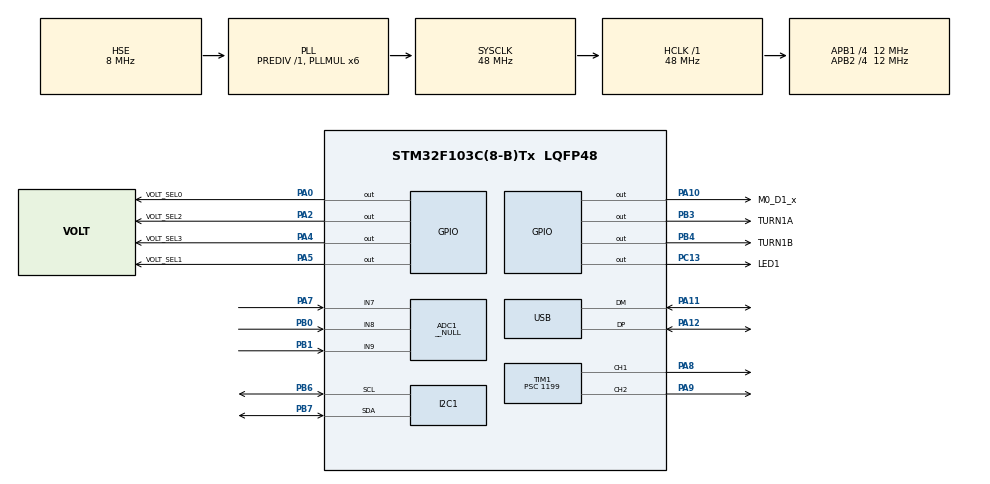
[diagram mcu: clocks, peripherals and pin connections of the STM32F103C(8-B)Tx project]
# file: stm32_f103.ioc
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ADC1.Channel-12\#ChannelRegularConversion=ADC_CHANNEL_7
ADC1.Channel-14\#ChannelRegularConversion=ADC_CHANNEL_8
ADC1.Channel-15\#ChannelRegularConversion=ADC_CHANNEL_9
ADC1.ContinuousConvMode=DISABLE
ADC1.DiscontinuousConvMode=DISABLE
ADC1.EnableInjectedConversion=DISABLE
ADC1.EnableRegularConversion=ENABLE
ADC1.ExternalTrigConv=ADC_EXTERNALTRIGCONV_T3_TRGO
ADC1.ExternalTrigInjecConv=ADC_INJECTED_SOFTWARE_START
ADC1.InjNumberOfConversion=2
ADC1.Mode=__NULL
ADC1.NbrOfConversion=3
ADC1.NbrOfConversionFlag=1
ADC1.Rank-12\#ChannelRegularConversion=1
ADC1.Rank-14\#ChannelRegularConversion=2
ADC1.Rank-15\#ChannelRegularConversion=3
ADC1.SamplingTime-12\#ChannelRegularConversion=ADC_SAMPLETIME_55CYCLES_5
ADC1.SamplingTime-14\#ChannelRegularConversion=ADC_SAMPLETIME_55CYCLES_5
ADC1.SamplingTime-15\#ChannelRegularConversion=ADC_SAMPLETIME_55CYCLES_5
ADC1.master=1
Dma.ADC1.0.Direction=DMA_PERIPH_TO_MEMORY
Dma.ADC1.0.Instance=DMA1_Channel1
Dma.ADC1.0.MemDataAlignment=DMA_MDATAALIGN_HALFWORD
Dma.ADC1.0.MemInc=DMA_MINC_ENABLE
Dma.ADC1.0.Mode=DMA_CIRCULAR
Dma.ADC1.0.PeriphDataAlignment=DMA_PDATAALIGN_HALFWORD
Dma.ADC1.0.PeriphInc=DMA_PINC_DISABLE
Dma.ADC1.0.Priority=DMA_PRIORITY_LOW
Dma.Request0=ADC1
FREERTOS.HEAP_NUMBER=1
FREERTOS.Queues01=frameQueue,48,frame_msg_t,0,Static,frameQueueBuffer,frameQueueControlBlock
FREERTOS.Tasks01=ctrlTask,24,256,StartCtrlTask,Default,NULL,Static,ctrlTaskBuffer,ctrlTaskControlBlock;txrxFrameTask,11,256,StartTxRxFrameTask,As external,NULL,Static,txrxFrameTaskBuffer,txrxFrameTaskControlBlock;taskAuto,8,256,StartTaskAuto,As external,NULL,Static,taskAutoBuffer,taskAutoControlBlock
FREERTOS.configCHECK_FOR_STACK_OVERFLOW=0
FREERTOS.configENABLE_BACKWARD_COMPATIBILITY=0
FREERTOS.configGENERATE_RUN_TIME_STATS=0
FREERTOS.configTICK_RATE_HZ=1000
FREERTOS.configTIMER_TASK_STACK_DEPTH=128
FREERTOS.configTOTAL_HEAP_SIZE=2048
FREERTOS.configUSE_MALLOC_FAILED_HOOK=1
FREERTOS.configUSE_TRACE_FACILITY=0
Mcu.Family=STM32F1
Mcu.Name=STM32F103C(8-B)Tx
Mcu.Package=LQFP48
Mcu.UserConstants=COMMAND_INT_MAX_OUTPUT_SIZE,2096
NVIC.ADC1_2_IRQn=true\:7\:0\:true\:true\:true\:1\:false\:true\:true
NVIC.DMA1_Channel1_IRQn=true\:7\:0\:true\:true\:true\:2\:true\:false\:true
NVIC.PriorityGroup=NVIC_PRIORITYGROUP_4
NVIC.TIM4_IRQn=true\:0\:0\:false\:false\:true\:false\:false\:true
NVIC.TimeBase=TIM4_IRQn
NVIC.TimeBaseIP=TIM4
NVIC.USB_LP_CAN1_RX0_IRQn=true\:5\:0\:true\:false\:true\:true\:false\:true
PA0-WKUP.GPIO_Label=VOLT_SEL0
PA0-WKUP.Signal=GPIO_Output
PA10.GPIO_Label=M0_D1_x
PA10.Signal=GPIO_Output
PA11.Mode=Device
PA11.Signal=USB_DM
PA12.Mode=Device
PA12.Signal=USB_DP
PA13.Mode=Serial_Wire
PA13.Signal=SYS_JTMS-SWDIO
PA14.Mode=Serial_Wire
PA14.Signal=SYS_JTCK-SWCLK
PA2.GPIO_Label=VOLT_SEL2
PA2.Signal=GPIO_Output
PA4.GPIO_Label=VOLT_SEL3
PA4.Signal=GPIO_Output
PA5.GPIO_Label=VOLT_SEL1
PA5.Signal=GPIO_Output
PA7.Signal=ADCx_IN7
PA8.Signal=S_TIM1_CH1
PA9.Signal=S_TIM1_CH2
PB0.Signal=ADCx_IN8
PB1.Signal=ADCx_IN9
PB3.GPIO_Label=TURN1A
PB3.Signal=GPIO_Output
PB4.GPIO_Label=TURN1B
PB4.Signal=GPIO_Output
PB6.Mode=I2C
PB6.Signal=I2C1_SCL
PB7.Mode=I2C
PB7.Signal=I2C1_SDA
PC13-TAMPER-RTC.GPIO_Label=LED1
PC13-TAMPER-RTC.Signal=GPIO_Output
PC14-OSC32_IN.Mode=LSE-External-Oscillator
PC14-OSC32_IN.Signal=RCC_OSC32_IN
PC15-OSC32_OUT.Mode=LSE-External-Oscillator
PC15-OSC32_OUT.Signal=RCC_OSC32_OUT
PD0-OSC_IN.Mode=HSE-External-Oscillator
PD0-OSC_IN.Signal=RCC_OSC_IN
PD1-OSC_OUT.Mode=HSE-External-Oscillator
PD1-OSC_OUT.Signal=RCC_OSC_OUT
ProjectManager.HeapSize=0x200
ProjectManager.StackSize=0x400
ProjectManager.TargetToolchain=STM32CubeIDE
RCC.AHBFreq_Value=48000000
RCC.APB1CLKDivider=RCC_HCLK_DIV4
RCC.APB1Freq_Value=12000000
RCC.APB1TimFreq_Value=24000000
RCC.APB2CLKDivider=RCC_HCLK_DIV4
RCC.APB2Freq_Value=12000000
RCC.APB2TimFreq_Value=24000000
RCC.HCLKFreq_Value=48000000
RCC.PLLMUL=RCC_PLL_MUL6
RCC.PLLSourceVirtual=RCC_PLLSOURCE_HSE
RCC.SYSCLKFreq_VALUE=48000000
RCC.SYSCLKSource=RCC_SYSCLKSOURCE_PLLCLK
RCC.USBFreq_Value=48000000
SH.ADCx_IN7.0=ADC1_IN7,IN7
SH.ADCx_IN8.0=ADC1_IN8,IN8
SH.ADCx_IN9.0=ADC1_IN9,IN9
SH.S_TIM1_CH1.0=TIM1_CH1,PWM Generation1 CH1
SH.S_TIM1_CH2.0=TIM1_CH2,PWM Generation2 CH2
TIM1.AutoReloadPreload=TIM_AUTORELOAD_PRELOAD_ENABLE
TIM1.Channel-PWM\ Generation1\ CH1=TIM_CHANNEL_1
TIM1.Channel-PWM\ Generation2\ CH2=TIM_CHANNEL_2
TIM1.CounterMode=TIM_COUNTERMODE_CENTERALIGNED3
TIM1.Period=200
TIM1.Prescaler=1199
TIM1.Pulse-PWM\ Generation1\ CH1=0
TIM1.TIM_MasterOutputTrigger=TIM_TRGO_UPDATE
TIM1.TIM_MasterSlaveMode=TIM_MASTERSLAVEMODE_ENABLE
TIM3.AutoReloadPreload=TIM_AUTORELOAD_PRELOAD_ENABLE
TIM3.CounterMode=TIM_COUNTERMODE_UP
TIM3.Period=210
TIM3.Prescaler=1199
TIM3.TIM_MasterOutputTrigger=TIM_TRGO_UPDATE
TIM3.TIM_MasterSlaveMode=TIM_MASTERSLAVEMODE_ENABLE
USB_DEVICE.APP_RX_DATA_SIZE=512
USB_DEVICE.APP_TX_DATA_SIZE=512
USB_DEVICE.CLASS_NAME_FS=CDC
USB_DEVICE.VirtualMode=Cdc
USB_DEVICE.VirtualModeFS=Cdc_FS
VP_FREERTOS_VS_CMSIS_V2.Mode=CMSIS_V2
VP_SYS_VS_tim4.Mode=TIM4
VP_TIM1_VS_ClockSourceINT.Mode=Internal
VP_TIM3_VS_ClockSourceINT.Mode=Internal
VP_TIM3_VS_ClockSourceITR.Mode=TriggerSource_ITR0
VP_TIM3_VS_ControllerModeReset.Mode=Reset Mode
VP_USB_DEVICE_VS_USB_DEVICE_CDC_FS.Mode=CDC_FS
board=custom

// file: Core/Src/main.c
/* USER CODE BEGIN Header */
/**
  ******************************************************************************
  * @file           : main.c
  * @brief          : Main program body
  ******************************************************************************
  * @attention
  *
  * <h2><center>&copy; Copyright (c) 2020 STMicroelectronics.
  * All rights reserved.</center></h2>
  *
  * This software component is licensed by ST under Ultimate Liberty license
  * SLA0044, the "License"; You may not use this file except in compliance with
  * the License. You may obtain a copy of the License at:
  *                             www.st.com/SLA0044
  *
  ******************************************************************************
  */
/* USER CODE END Header */
#include "main.h"
#include "cmsis_os.h"
#include "usb_device.h"

/* USER CODE BEGIN Includes */
//#include “FreeRTOS_IO.h”
#include "stream_buffer.h"
#include "task.h"
#include "usbd_cdc_if.h"
//#include "cli.h"

#include "trainctl_iface.h"
#include "traincontrol.h"
#include "canton.h"
#include "stm32/txrxtask.h"
#include "stm32/taskauto.h"
#include "stm32/taskctrl.h"

#include <string.h>
/* USER CODE END Includes */

typedef StaticTask_t osStaticThreadDef_t;
typedef StaticQueue_t osStaticMessageQDef_t;

ADC_HandleTypeDef hadc1;
DMA_HandleTypeDef hdma_adc1;

I2C_HandleTypeDef hi2c1;

TIM_HandleTypeDef htim1;
TIM_HandleTypeDef htim3;

/* Definitions for ctrlTask */
osThreadId_t ctrlTaskHandle;
uint32_t ctrlTaskBuffer[ 256 ];
osStaticThreadDef_t ctrlTaskControlBlock;
const osThreadAttr_t ctrlTask_attributes = {
  .name = "ctrlTask",
  .stack_mem = &ctrlTaskBuffer[0],
  .stack_size = sizeof(ctrlTaskBuffer),
  .cb_mem = &ctrlTaskControlBlock,
  .cb_size = sizeof(ctrlTaskControlBlock),
  .priority = (osPriority_t) osPriorityNormal,
};
/* Definitions for txrxFrameTask */
osThreadId_t txrxFrameTaskHandle;
uint32_t txrxFrameTaskBuffer[ 256 ];
osStaticThreadDef_t txrxFrameTaskControlBlock;
const osThreadAttr_t txrxFrameTask_attributes = {
  .name = "txrxFrameTask",
  .stack_mem = &txrxFrameTaskBuffer[0],
  .stack_size = sizeof(txrxFrameTaskBuffer),
  .cb_mem = &txrxFrameTaskControlBlock,
  .cb_size = sizeof(txrxFrameTaskControlBlock),
  .priority = (osPriority_t) osPriorityLow3,
};
/* Definitions for taskAuto */
osThreadId_t taskAutoHandle;
uint32_t taskAutoBuffer[ 256 ];
osStaticThreadDef_t taskAutoControlBlock;
const osThreadAttr_t taskAuto_attributes = {
  .name = "taskAuto",
  .stack_mem = &taskAutoBuffer[0],
  .stack_size = sizeof(taskAutoBuffer),
  .cb_mem = &taskAutoControlBlock,
  .cb_size = sizeof(taskAutoControlBlock),
  .priority = (osPriority_t) osPriorityLow,
};
/* Definitions for frameQueue */
osMessageQueueId_t frameQueueHandle;
uint8_t frameQueueBuffer[ 48 * sizeof( frame_msg_t ) ];
osStaticMessageQDef_t frameQueueControlBlock;
const osMessageQueueAttr_t frameQueue_attributes = {
  .name = "frameQueue",
  .cb_mem = &frameQueueControlBlock,
  .cb_size = sizeof(frameQueueControlBlock),
  .mq_mem = &frameQueueBuffer,
  .mq_size = sizeof(frameQueueBuffer)
};
/* USER CODE BEGIN PV */

//StreamBufferHandle_t streamCli;

/* USER CODE END PV */

void SystemClock_Config(void);
static void MX_GPIO_Init(void);
static void MX_DMA_Init(void);
static void MX_TIM1_Init(void);
static void MX_ADC1_Init(void);
static void MX_TIM3_Init(void);
static void MX_I2C1_Init(void);
void StartCtrlTask(void *argument);
extern void StartTxRxFrameTask(void *argument);
extern void StartTaskAuto(void *argument);

static void MX_NVIC_Init(void);

/* USER CODE BEGIN 0 */
void vApplicationStackOverflowHook(TaskHandle_t xTask, signed char *pcTaskName)
{
	configASSERT(0);
}

#if 0
int cur_freqhz = 50;
// #define __HAL_TIM_SET_PRESCALER(__HANDLE__, __PRESC__)       ((__HANDLE__)->Instance->PSC = (__PRESC__))
void set_pwm_freq(int freqhz)
{
	// 12MHz / 200 -> 60000
	// 50Hz = 1200
	int ps = (60000/freqhz)-1;
	if ((ps<1) || (ps>0xFFFF)) ps = 1200;
	ps = ps-1;
	cur_freqhz = 60000/(ps+1);
	__HAL_TIM_SET_PRESCALER(&htim1, ps);

}
#endif

/* USER CODE END 0 */

int main(void)
{

  /* MCU Configuration--------------------------------------------------------*/

  /* Reset of all peripherals, Initializes the Flash interface and the Systick. */
  HAL_Init();

  /* Configure the system clock */
  SystemClock_Config();

  /* USER CODE BEGIN SysInit */
  // static uint8_t streamCliBuffer[256];
  // static StaticStreamBuffer_t streamCliDef;
  // streamCli = xStreamBufferCreateStatic(sizeof(streamCliBuffer), 1, streamCliBuffer, &streamCliDef);

  /* USER CODE END SysInit */

  /* Initialize all configured peripherals */
  MX_GPIO_Init();
  MX_DMA_Init();
  MX_TIM1_Init();
  MX_ADC1_Init();
  MX_TIM3_Init();
  MX_I2C1_Init();

  /* Initialize interrupts */
  MX_NVIC_Init();

  /* Init scheduler */
  osKernelInitialize();

  /* Create the queue(s) */
  /* creation of frameQueue */
  frameQueueHandle = osMessageQueueNew (48, sizeof(frame_msg_t), &frameQueue_attributes);

  /* Create the thread(s) */
  /* creation of ctrlTask */
  ctrlTaskHandle = osThreadNew(StartCtrlTask, NULL, &ctrlTask_attributes);

  /* creation of txrxFrameTask */
  txrxFrameTaskHandle = osThreadNew(StartTxRxFrameTask, NULL, &txrxFrameTask_attributes);

  /* creation of taskAuto */
  taskAutoHandle = osThreadNew(StartTaskAuto, NULL, &taskAuto_attributes);

  /* Start scheduler */
  osKernelStart();

  /* We should never get here as control is now taken by the scheduler */
  /* Infinite loop */
  while (1)
  {

  }
}

void SystemClock_Config(void)
{
  RCC_OscInitTypeDef RCC_OscInitStruct = {0};
  RCC_ClkInitTypeDef RCC_ClkInitStruct = {0};
  RCC_PeriphCLKInitTypeDef PeriphClkInit = {0};

  /** Initializes the RCC Oscillators according to the specified parameters
  * in the RCC_OscInitTypeDef structure.
  */
  RCC_OscInitStruct.OscillatorType = RCC_OSCILLATORTYPE_HSE;
  RCC_OscInitStruct.HSEState = RCC_HSE_ON;
  RCC_OscInitStruct.HSEPredivValue = RCC_HSE_PREDIV_DIV1;
  RCC_OscInitStruct.HSIState = RCC_HSI_ON;
  RCC_OscInitStruct.PLL.PLLState = RCC_PLL_ON;
  RCC_OscInitStruct.PLL.PLLSource = RCC_PLLSOURCE_HSE;
  RCC_OscInitStruct.PLL.PLLMUL = RCC_PLL_MUL6;
  if (HAL_RCC_OscConfig(&RCC_OscInitStruct) != HAL_OK)
  {
    Error_Handler();
  }
  /** Initializes the CPU, AHB and APB buses clocks
  */
  RCC_ClkInitStruct.ClockType = RCC_CLOCKTYPE_HCLK|RCC_CLOCKTYPE_SYSCLK
                              |RCC_CLOCKTYPE_PCLK1|RCC_CLOCKTYPE_PCLK2;
  RCC_ClkInitStruct.SYSCLKSource = RCC_SYSCLKSOURCE_PLLCLK;
  RCC_ClkInitStruct.AHBCLKDivider = RCC_SYSCLK_DIV1;
  RCC_ClkInitStruct.APB1CLKDivider = RCC_HCLK_DIV4;
  RCC_ClkInitStruct.APB2CLKDivider = RCC_HCLK_DIV4;

  if (HAL_RCC_ClockConfig(&RCC_ClkInitStruct, FLASH_LATENCY_1) != HAL_OK)
  {
    Error_Handler();
  }
  PeriphClkInit.PeriphClockSelection = RCC_PERIPHCLK_ADC|RCC_PERIPHCLK_USB;
  PeriphClkInit.AdcClockSelection = RCC_ADCPCLK2_DIV2;
  PeriphClkInit.UsbClockSelection = RCC_USBCLKSOURCE_PLL;
  if (HAL_RCCEx_PeriphCLKConfig(&PeriphClkInit) != HAL_OK)
  {
    Error_Handler();
  }
}

/**
  * @brief NVIC Configuration.
  * @retval None
  */
static void MX_NVIC_Init(void)
{
  /* ADC1_2_IRQn interrupt configuration */
  HAL_NVIC_SetPriority(ADC1_2_IRQn, 7, 0);
  HAL_NVIC_EnableIRQ(ADC1_2_IRQn);
  /* DMA1_Channel1_IRQn interrupt configuration */
  HAL_NVIC_SetPriority(DMA1_Channel1_IRQn, 7, 0);
  HAL_NVIC_EnableIRQ(DMA1_Channel1_IRQn);
}

static void MX_ADC1_Init(void)
{

  ADC_ChannelConfTypeDef sConfig = {0};

  /** Common config
  */
  hadc1.Instance = ADC1;
  hadc1.Init.ScanConvMode = ADC_SCAN_ENABLE;
  hadc1.Init.ContinuousConvMode = DISABLE;
  hadc1.Init.DiscontinuousConvMode = DISABLE;
  hadc1.Init.ExternalTrigConv = ADC_EXTERNALTRIGCONV_T3_TRGO;
  hadc1.Init.DataAlign = ADC_DATAALIGN_RIGHT;
  hadc1.Init.NbrOfConversion = 3;
  if (HAL_ADC_Init(&hadc1) != HAL_OK)
  {
    Error_Handler();
  }
  /** Configure Regular Channel
  */
  sConfig.Channel = ADC_CHANNEL_7;
  sConfig.Rank = ADC_REGULAR_RANK_1;
  sConfig.SamplingTime = ADC_SAMPLETIME_55CYCLES_5;
  if (HAL_ADC_ConfigChannel(&hadc1, &sConfig) != HAL_OK)
  {
    Error_Handler();
  }
  /** Configure Regular Channel
  */
  sConfig.Channel = ADC_CHANNEL_8;
  sConfig.Rank = ADC_REGULAR_RANK_2;
  if (HAL_ADC_ConfigChannel(&hadc1, &sConfig) != HAL_OK)
  {
    Error_Handler();
  }
  /** Configure Regular Channel
  */
  sConfig.Channel = ADC_CHANNEL_9;
  sConfig.Rank = ADC_REGULAR_RANK_3;
  if (HAL_ADC_ConfigChannel(&hadc1, &sConfig) != HAL_OK)
  {
    Error_Handler();
  }

}

static void MX_I2C1_Init(void)
{

  hi2c1.Instance = I2C1;
  hi2c1.Init.ClockSpeed = 100000;
  hi2c1.Init.DutyCycle = I2C_DUTYCYCLE_2;
  hi2c1.Init.OwnAddress1 = 0;
  hi2c1.Init.AddressingMode = I2C_ADDRESSINGMODE_7BIT;
  hi2c1.Init.DualAddressMode = I2C_DUALADDRESS_DISABLE;
  hi2c1.Init.OwnAddress2 = 0;
  hi2c1.Init.GeneralCallMode = I2C_GENERALCALL_DISABLE;
  hi2c1.Init.NoStretchMode = I2C_NOSTRETCH_DISABLE;
  if (HAL_I2C_Init(&hi2c1) != HAL_OK)
  {
    Error_Handler();
  }

}

static void MX_TIM1_Init(void)
{

  TIM_ClockConfigTypeDef sClockSourceConfig = {0};
  TIM_MasterConfigTypeDef sMasterConfig = {0};
  TIM_OC_InitTypeDef sConfigOC = {0};
  TIM_BreakDeadTimeConfigTypeDef sBreakDeadTimeConfig = {0};

  htim1.Instance = TIM1;
  htim1.Init.Prescaler = 1199;
  htim1.Init.CounterMode = TIM_COUNTERMODE_CENTERALIGNED3;
  htim1.Init.Period = 200;
  htim1.Init.ClockDivision = TIM_CLOCKDIVISION_DIV1;
  htim1.Init.RepetitionCounter = 0;
  htim1.Init.AutoReloadPreload = TIM_AUTORELOAD_PRELOAD_ENABLE;
  if (HAL_TIM_Base_Init(&htim1) != HAL_OK)
  {
    Error_Handler();
  }
  sClockSourceConfig.ClockSource = TIM_CLOCKSOURCE_INTERNAL;
  if (HAL_TIM_ConfigClockSource(&htim1, &sClockSourceConfig) != HAL_OK)
  {
    Error_Handler();
  }
  if (HAL_TIM_PWM_Init(&htim1) != HAL_OK)
  {
    Error_Handler();
  }
  sMasterConfig.MasterOutputTrigger = TIM_TRGO_UPDATE;
  sMasterConfig.MasterSlaveMode = TIM_MASTERSLAVEMODE_ENABLE;
  if (HAL_TIMEx_MasterConfigSynchronization(&htim1, &sMasterConfig) != HAL_OK)
  {
    Error_Handler();
  }
  sConfigOC.OCMode = TIM_OCMODE_PWM1;
  sConfigOC.Pulse = 0;
  sConfigOC.OCPolarity = TIM_OCPOLARITY_HIGH;
  sConfigOC.OCNPolarity = TIM_OCNPOLARITY_HIGH;
  sConfigOC.OCFastMode = TIM_OCFAST_DISABLE;
  sConfigOC.OCIdleState = TIM_OCIDLESTATE_RESET;
  sConfigOC.OCNIdleState = TIM_OCNIDLESTATE_RESET;
  if (HAL_TIM_PWM_ConfigChannel(&htim1, &sConfigOC, TIM_CHANNEL_1) != HAL_OK)
  {
    Error_Handler();
  }
  if (HAL_TIM_PWM_ConfigChannel(&htim1, &sConfigOC, TIM_CHANNEL_2) != HAL_OK)
  {
    Error_Handler();
  }
  sBreakDeadTimeConfig.OffStateRunMode = TIM_OSSR_DISABLE;
  sBreakDeadTimeConfig.OffStateIDLEMode = TIM_OSSI_DISABLE;
  sBreakDeadTimeConfig.LockLevel = TIM_LOCKLEVEL_OFF;
  sBreakDeadTimeConfig.DeadTime = 0;
  sBreakDeadTimeConfig.BreakState = TIM_BREAK_DISABLE;
  sBreakDeadTimeConfig.BreakPolarity = TIM_BREAKPOLARITY_HIGH;
  sBreakDeadTimeConfig.AutomaticOutput = TIM_AUTOMATICOUTPUT_DISABLE;
  if (HAL_TIMEx_ConfigBreakDeadTime(&htim1, &sBreakDeadTimeConfig) != HAL_OK)
  {
    Error_Handler();
  }
  HAL_TIM_MspPostInit(&htim1);

}

static void MX_TIM3_Init(void)
{

  TIM_ClockConfigTypeDef sClockSourceConfig = {0};
  TIM_SlaveConfigTypeDef sSlaveConfig = {0};
  TIM_MasterConfigTypeDef sMasterConfig = {0};

  htim3.Instance = TIM3;
  htim3.Init.Prescaler = 1199;
  htim3.Init.CounterMode = TIM_COUNTERMODE_UP;
  htim3.Init.Period = 210;
  htim3.Init.ClockDivision = TIM_CLOCKDIVISION_DIV1;
  htim3.Init.AutoReloadPreload = TIM_AUTORELOAD_PRELOAD_ENABLE;
  if (HAL_TIM_Base_Init(&htim3) != HAL_OK)
  {
    Error_Handler();
  }
  sClockSourceConfig.ClockSource = TIM_CLOCKSOURCE_INTERNAL;
  if (HAL_TIM_ConfigClockSource(&htim3, &sClockSourceConfig) != HAL_OK)
  {
    Error_Handler();
  }
  sSlaveConfig.SlaveMode = TIM_SLAVEMODE_RESET;
  sSlaveConfig.InputTrigger = TIM_TS_ITR0;
  if (HAL_TIM_SlaveConfigSynchro(&htim3, &sSlaveConfig) != HAL_OK)
  {
    Error_Handler();
  }
  sMasterConfig.MasterOutputTrigger = TIM_TRGO_UPDATE;
  sMasterConfig.MasterSlaveMode = TIM_MASTERSLAVEMODE_ENABLE;
  if (HAL_TIMEx_MasterConfigSynchronization(&htim3, &sMasterConfig) != HAL_OK)
  {
    Error_Handler();
  }

}

static void MX_DMA_Init(void)
{

  /* DMA controller clock enable */
  __HAL_RCC_DMA1_CLK_ENABLE();

}

static void MX_GPIO_Init(void)
{
  GPIO_InitTypeDef GPIO_InitStruct = {0};

  /* GPIO Ports Clock Enable */
  __HAL_RCC_GPIOC_CLK_ENABLE();
  __HAL_RCC_GPIOD_CLK_ENABLE();
  __HAL_RCC_GPIOA_CLK_ENABLE();
  __HAL_RCC_GPIOB_CLK_ENABLE();

  /*Configure GPIO pin Output Level */
  HAL_GPIO_WritePin(LED1_GPIO_Port, LED1_Pin, GPIO_PIN_RESET);

  /*Configure GPIO pin Output Level */
  HAL_GPIO_WritePin(GPIOA, VOLT_SEL0_Pin|VOLT_SEL2_Pin|VOLT_SEL3_Pin|VOLT_SEL1_Pin
                          |M0_D1_x_Pin, GPIO_PIN_RESET);

  /*Configure GPIO pin Output Level */
  HAL_GPIO_WritePin(GPIOB, TURN1A_Pin|TURN1B_Pin, GPIO_PIN_RESET);

  /*Configure GPIO pin : LED1_Pin */
  GPIO_InitStruct.Pin = LED1_Pin;
  GPIO_InitStruct.Mode = GPIO_MODE_OUTPUT_PP;
  GPIO_InitStruct.Pull = GPIO_NOPULL;
  GPIO_InitStruct.Speed = GPIO_SPEED_FREQ_LOW;
  HAL_GPIO_Init(LED1_GPIO_Port, &GPIO_InitStruct);

  /*Configure GPIO pins : VOLT_SEL0_Pin VOLT_SEL2_Pin VOLT_SEL3_Pin VOLT_SEL1_Pin
                           M0_D1_x_Pin */
  GPIO_InitStruct.Pin = VOLT_SEL0_Pin|VOLT_SEL2_Pin|VOLT_SEL3_Pin|VOLT_SEL1_Pin
                          |M0_D1_x_Pin;
  GPIO_InitStruct.Mode = GPIO_MODE_OUTPUT_PP;
  GPIO_InitStruct.Pull = GPIO_NOPULL;
  GPIO_InitStruct.Speed = GPIO_SPEED_FREQ_LOW;
  HAL_GPIO_Init(GPIOA, &GPIO_InitStruct);

  /*Configure GPIO pins : TURN1A_Pin TURN1B_Pin */
  GPIO_InitStruct.Pin = TURN1A_Pin|TURN1B_Pin;
  GPIO_InitStruct.Mode = GPIO_MODE_OUTPUT_PP;
  GPIO_InitStruct.Pull = GPIO_NOPULL;
  GPIO_InitStruct.Speed = GPIO_SPEED_FREQ_LOW;
  HAL_GPIO_Init(GPIOB, &GPIO_InitStruct);

}

/* USER CODE BEGIN 4 */
static int num_pwm_finished11 = 0;
static int num_pwm_finished12 = 0;
static int num_pwm_finished3 = 0;

void HAL_TIM_PWM_PulseFinishedCallback(TIM_HandleTypeDef *htim)
{
	if ((0)) {
	} else if (htim->Instance == TIM3) {
		num_pwm_finished3++;
	} else if (htim->Instance == TIM1) {
		// TIM1_CC_IRQ
		switch (htim->Channel) {
		case HAL_TIM_ACTIVE_CHANNEL_1:
			num_pwm_finished11++;
			break;
		case HAL_TIM_ACTIVE_CHANNEL_2:
			num_pwm_finished12++;
			break;
		default:
			break;
		}
	}
}
static int nt3=0;
void HAL_TIM_OC_DelayElapsedCallback(TIM_HandleTypeDef *htim)
{
	static int n=0;
	if (htim->Instance == TIM3) {
		nt3++;
	}
	if (htim->Channel == HAL_TIM_ACTIVE_CHANNEL_3) {
		n++;
		  HAL_GPIO_TogglePin(GPIOC,GPIO_PIN_13);
		//start_adc_read();
	}
}
/*
static void start_adc_read()
{

}*/

#define _ADC_NCHAN 2
#define _ADC_NSAMPLE 4
//static volatile uint16_t ADC_Values[_ADC_NCHAN*_ADC_NSAMPLE]={0xAAAA};

/* USER CODE END 4 */

void StartCtrlTask(void *argument)
{
  /* init code for USB_DEVICE */
  MX_USB_DEVICE_Init();
  /* USER CODE BEGIN 5 */

  CantonTimerHandles[1]=&htim1;
  CantonTimerHandles[2]=&htim2;
  CantonTimerHandles[3]=&htim3;
  //CantonTimerHandles[4]=&htim3;
  railconfig_setup_default();

  HAL_TIM_PWM_Start(&htim1, TIM_CHANNEL_1);
  HAL_TIM_PWM_Start(&htim1, TIM_CHANNEL_2);
  HAL_TIM_PWM_Stop(&htim1, TIM_CHANNEL_2);

  HAL_TIM_Base_Start_IT(&htim3);

  HAL_ADC_Start_DMA(&hadc1,(uint32_t *)train_adc_buffer, NUM_ADC_SAMPLES);

  //xTaskNotify(defaultTaskHandle, NOTIF_STARTUP, eSetBits);

  //static inline void debug_info(int num, char *msg, int v1, int v2)
  //debug_info(0, "HELLO", 42, 45);
  run_task_ctrl();
  // not reached

  /* USER CODE END 5 */
}

void HAL_TIM_PeriodElapsedCallback(TIM_HandleTypeDef *htim)
{
  if (htim->Instance == TIM4) {
    HAL_IncTick();
  }
}

void Error_Handler(void)
{
  /* USER CODE BEGIN Error_Handler_Debug */
  /* User can add his own implementation to report the HAL error return state */
	static const uint8_t msg[]="Error_Handler\r\n";
	CDC_Transmit_FS((uint8_t *)msg, strlen((char *)msg));

  /* USER CODE END Error_Handler_Debug */
}

#ifdef  USE_FULL_ASSERT
/**
  * @brief  Reports the name of the source file and the source line number
  *         where the assert_param error has occurred.
  * @param  file: pointer to the source file name
  * @param  line: assert_param error line source number
  * @retval None
  */
void assert_failed(uint8_t *file, uint32_t line)
{
  /* USER CODE BEGIN 6 */
  /* User can add his own implementation to report the file name and line number,
     tex: printf("Wrong parameters value: file %s on line %d\r\n", file, line) */

#define xstr(s) str(s)
#define str(s) #s

    static char msg[128];
    //           12345678901234
    strcpy(msg, "assert failed ");
    int l = strlen((char *)file);
    if (l>30) file = file+l-30;
    strcpy(msg+14, (char *)file);
    strcpy(msg+strlen(msg), ":");
    itoa(line, msg+strlen(msg), 10);
    strcpy(msg+strlen(msg), "\r\n");
	CDC_Transmit_FS((uint8_t *)msg, strlen(msg));

  /* USER CODE END 6 */
}
#endif /* USE_FULL_ASSERT */

/************************ (C) COPYRIGHT STMicroelectronics *****END OF FILE****/
